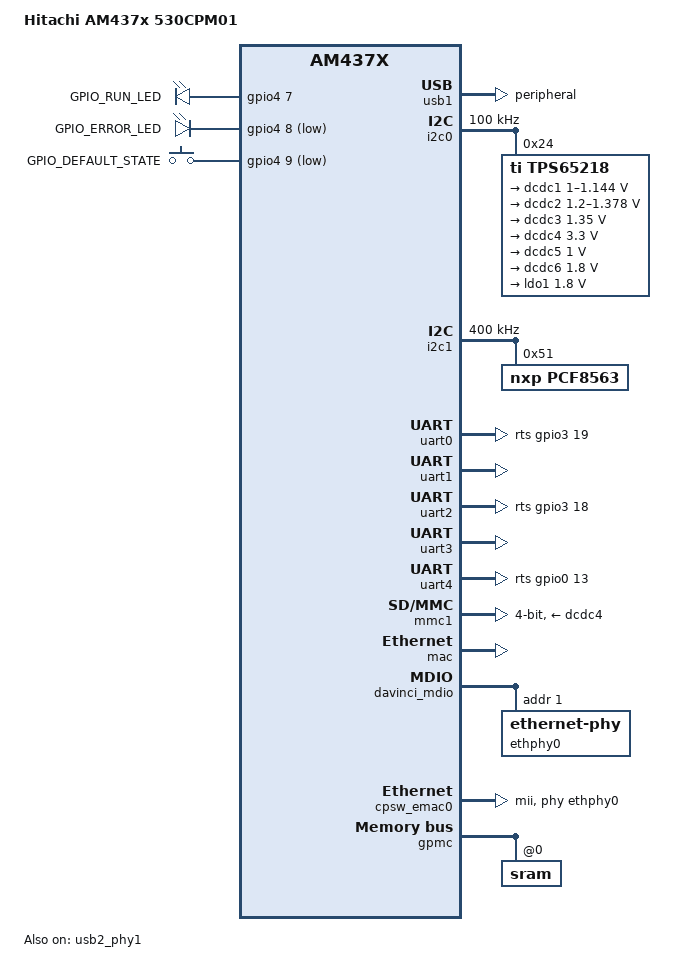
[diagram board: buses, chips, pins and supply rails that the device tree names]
/*
 * Copyright 2020-2023 Hitachi Energy.
 *
 * This program is free software; you can redistribute it and/or modify
 * it under the terms of the GNU General Public License version 2 as
 * published by the Free Software Foundation.
 */

/* Hitachi 530CPM01 */

/dts-v1/;

#include "am4372.dtsi"
#include "dt-bindings/pinctrl/am43xx.h"
#include "dt-bindings/pwm/pwm.h"
#include "dt-bindings/gpio/gpio.h"
#include "dt-bindings/input/input.h"

/ {
	model = "Hitachi AM437x 530CPM01";
	compatible = "ti,am437x-gp-evm","ti,am4372","ti,am43","hitachi,am437x-530cpm01";

	chosen {
		stdout-path = &uart3;
		tick-timer = &timer2;
	};

	status_leds {
		compatible = "gpio-leds";
		pinctrl-names = "default";
		pinctrl-0 = <&leds_pins_default>;
		led-green {
			label = "GPIO_RUN_LED";
			gpios = <&gpio4 7 GPIO_ACTIVE_HIGH>;
			default-state = "off";
		};
		led-red {
			label = "GPIO_ERROR_LED";
			gpios = <&gpio4 8 GPIO_ACTIVE_LOW>;
			default-state = "on";
		};
	};

	default_switch {
		compatible = "gpio-keys";
		pinctrl-names = "default";
		pinctrl-0 = <&switch_pins_default>;
		default-switch {
			label = "GPIO_DEFAULT_STATE";
			linux,code = <BTN_0>;
			gpios = <&gpio4 9 GPIO_ACTIVE_LOW>;
		};
	};

	uio_pg_sram@0 {
		compatible = "hitachi,uio-pg-sram";
		reg = <0x01000000 0x40000>; /* 256kB */
	};
};

&am43xx_pinmux {
	pinctrl-names = "default", "sleep";

	/* Some or all the pins from the following groups are not used by device tree 
	   ext_int_pins_default
	   jtag_pins_default
	   hw_glue_pins_default
	   _24mhz_pins_default
	   _32khz_pins_default
	   rtc_pins_default
	*/

	ext_int_pins_default: ext_int_default_pinmux {
		pinctrl-single,pins = <
			0x284 ( PIN_INPUT          | MUX_MODE0 ) /* (G25) EXTINTn.nNMI               => External interrupt connected to PMIC */
		>;
	};

	jtag_pins_default: jtag_default_pinmux {
		pinctrl-single,pins = <
			0x290 ( PIN_INPUT          | MUX_MODE0 ) /* (Y24) TMS.TMS                    => JTAG TMS */
			0x294 ( PIN_INPUT          | MUX_MODE0 ) /* (Y20) TDI.TDI                    => JTAG TDI */
			0x298 ( PIN_OUTPUT         | MUX_MODE0 ) /* (AA24) TDO.TDO                   => JTAG TDO */
			0x29c ( PIN_INPUT          | MUX_MODE0 ) /* (AA25) TCK.TCK                   => JTAG TCK */
			0x2a0 ( PIN_INPUT          | MUX_MODE0 ) /* (Y25) nTRST.nTRST                => JTAG TRSTN */
			0x2a4 ( PIN_INPUT          | MUX_MODE0 ) /* (N23) EMU0.EMU0                  => JTAG EMU0 */
			0x2a8 ( PIN_INPUT          | MUX_MODE0 ) /* (T24) EMU1.EMU1                  => JTAG EMU1 */
		>;
	};

	hw_glue_pins_default: hw_glue_default_pinmux {
		pinctrl-single,pins = <
			0x27c ( PIN_INPUT          | MUX_MODE0 ) /* (G22) WARMRSTn.nRESETIN_OUT      => SYS_RESETN */
			0x280 ( PIN_INPUT          | MUX_MODE0 ) /* (Y23) PWRONRSTn.porz             => POWER_GOOD */
		>;
	};

	leds_pins_default: leds_default_pinmux {
		pinctrl-single,pins = <
			0x1cc ( PIN_OUTPUT         | MUX_MODE7 ) /* (AC24) cam1_data9.gpio4[7]       => GPIO_RUN_LED (low pull-down) */
			0x1d0 ( PIN_OUTPUT         | MUX_MODE7 ) /* (AD24) cam1_data8.gpio4[8]       => GPIO_ERROR_LEDN (low pull-down) */
		>;
	};

	switch_pins_default: switch_default_pinmux {
		pinctrl-single,pins = <
			0x1d4 ( PIN_INPUT          | MUX_MODE7 ) /* (AD25) cam1_hd.gpio4[9]          => GPIO_DEFAULT_STATEN */
		>;
	};

	uart_cp1_pins_default: uart_cp1_default_pinmux {
		pinctrl-single,pins = <
			0x1e8 ( PIN_INPUT          | MUX_MODE1 ) /* (AB20) cam1_data0.uart1_rxd      => UART1 RX */
			0x1ec ( PIN_OUTPUT         | MUX_MODE1 ) /* (AC21) cam1_data1.uart1_txd      => UART1 TX */
			0x1f0 ( PIN_INPUT          | MUX_MODE1 ) /* (AD21) cam1_data2.uart1_ctsn     => UART1 CTS */
			0x1f4 ( PIN_OUTPUT         | MUX_MODE1 ) /* (AE22) cam1_data3.uart1_rtsn     => UART1 RTS */
			0x200 ( PIN_INPUT          | MUX_MODE1 ) /* (AD23) cam1_data6.uart1_dcdn     => UART1 DCD */
			0x1fc ( PIN_INPUT          | MUX_MODE1 ) /* (AE23) cam1_data5.uart1_dsrn     => UART1 DSR */
			0x204 ( PIN_OUTPUT         | MUX_MODE1 ) /* (AE24) cam1_data7.uart1_dtrn     => UART1 DTR */
			0x090 ( PIN_OUTPUT         | MUX_MODE7 ) /* (A9) gpmc_advn_ale.gpio2[2]      => GPIO_EN_RS232_CP1 (low pull-down) */
		>;
	};

	uart_cp2_pins_default: uart_cp2_default_pinmux {
		pinctrl-single,pins = <
			0x150 ( PIN_INPUT          | MUX_MODE1 ) /* (P23) spi0_sclk.uart2_rxd        => UART2 RX */
			0x154 ( PIN_OUTPUT         | MUX_MODE1 ) /* (T22) spi0_d0.uart2_txd          => UART2 TX */
			0x1a0 ( PIN_OUTPUT         | MUX_MODE7 ) /* (L23) mcasp0_aclkr.gpio3[18]     => GPIO_EN_RS485_TX_CP2 (low pull-down) */
			0x1e0 ( PIN_INPUT          | MUX_MODE7 ) /* (AC25) cam1_field.gpio4[12]      => GPIO_TIME_SYNC_OUT1N (high pull-up) */
								   /* This actual output is defined as input because the output */
								   /* requires high as default state and there is no way to set */
								   /* this default state here */
		>;
	};

	uart_cp3_pins_default: uart_cp3_default_pinmux {
		pinctrl-single,pins = <
			0x170 ( PIN_INPUT          | MUX_MODE0 ) /* (K25) uart0_rxd.uart0_rxd        => UART0 RX */
			0x174 ( PIN_OUTPUT         | MUX_MODE0 ) /* (J24) uart0_txd.uart0_txd        => UART0 TX */
			0x1a4 ( PIN_OUTPUT         | MUX_MODE7 ) /* (K23) mcasp0_fsr.gpio3[19]       => GPIO_EN_RS485_TX_CP3 (low pull-down) */
			0x1e4 ( PIN_INPUT          | MUX_MODE7 ) /* (AB25) cam1_wen.gpio4[13]        => GPIO_TIME_SYNC_OUT2N (high pull-up) */
								   /* This actual output is defined as input because the output */
								   /* requires high as default state and there is no way to set */
								   /* this default state here */
		>;
	};

	uart_iobus_pins_default: uart_iobus_default_pinmux {
		pinctrl-single,pins = <
			0x168 ( PIN_INPUT          | MUX_MODE1 ) /* (L25) uart0_ctsn.uart4_rxd       => UART4 RX */
			0x16c ( PIN_OUTPUT         | MUX_MODE1 ) /* (J25) uart0_rtsn.uart4_txd       => UART4 TX */
			0x17c ( PIN_OUTPUT         | MUX_MODE7 ) /* (L22) uart1_rtsn.gpio0[13]       => GPIO_UART4_TX_EN (low pull-down) */
			0x144 ( PIN_OUTPUT         | MUX_MODE7 ) /* (A16) rmii1_ref_clk.gpio0[29]    => GPIO_UART4_RX_EN (low pull-down) */
			0x1d8 ( PIN_INPUT          | MUX_MODE7 ) /* (AC23) cam1_vd.gpio4[10]         => GPIO_TIME_SYNC_OUT0N (high pull-up) */
								   /* This actual output is defined as input because the output */
								   /* requires high as default state and there is no way to set */
								   /* this default state here */
		>;
	};

	uart_debug_console_pins_default: uart_debug_console_default_pinmux {
		pinctrl-single,pins = <
			0x228 ( PIN_INPUT          | MUX_MODE0 ) /* (H25) uart3_rxd.uart3_rxd        => UART3 RX */
			0x22c ( PIN_OUTPUT         | MUX_MODE0 ) /* (H24) uart3_txd.uart3_txd        => UART3 TX */
		>;
	};

	gpio0_pins_default: gpio0_default_pinmux {
		pinctrl-single,pins = <
			0x158 ( PIN_INPUT_PULLDOWN | MUX_MODE7 ) /* (T21) spi0_d1.gpio0[4]           => not connected */
			0x15c ( PIN_INPUT_PULLDOWN | MUX_MODE7 ) /* (T20) spi0_cs0.gpio0[5]          => not connected */
			0x160 ( PIN_INPUT          | MUX_MODE7 ) /* (R25) spi0_cs1.gpio0[6]          => GPIO_BIT_PROT_IN */
			0x164 ( PIN_INPUT          | MUX_MODE7 ) /* (G24) eCAP0_in_PWM0_out.gpio0[7] => GPIO_BIT_PROT_OUT */
								   /* Set default defintion to input to avoid interference */
								   /* with standard functionality UART1 TX */
			0x0d8 ( PIN_INPUT          | MUX_MODE7 ) /* (C17) dss_data14.gpio0[10]       => SYSBOOT_14 (fix connected to high) */
			0x0dc ( PIN_INPUT          | MUX_MODE7 ) /* (D17) dss_data15.gpio0[11]       => SYSBOOT_15 (fix connected to low) */
			0x178 ( PIN_INPUT_PULLDOWN | MUX_MODE7 ) /* (K22) uart1_ctsn.gpio0[12]       => not connected */
			0x270 ( PIN_INPUT_PULLDOWN | MUX_MODE7 ) /* (D24) xdma_event_intr0.gpio0[19] => connect to TP1 (define as MUX_MODE3 for CPU_CLK_OUT1 signal) */
			0x274 ( PIN_INPUT_PULLDOWN | MUX_MODE7 ) /* (C24) xdma_event_intr1.gpio0[20] => GPIO_PHY_CLK (not connected) */
			0x278 ( PIN_INPUT          | MUX_MODE7 ) /* (H20) clkreq.gpio0[24]           => GPIO_EMMC_RESETN (high pull-up) */
								   /* This actual output is defined as input because the output */
								   /* requires high as default state and there is no way to set */
								   /* this default state here */
		>;
	};

	gpio1_pins_default: gpio1_default_pinmux {
		pinctrl-single,pins = <
			0x080 ( PIN_INPUT_PULLDOWN | MUX_MODE7 ) /* (B9) gpmc_csn1.gpio1[30]         => not connected */
		>;
	};

	gpio2_pins_default: gpio2_default_pinmux {
		pinctrl-single,pins = <
			0x088 ( PIN_INPUT_PULLDOWN | MUX_MODE7 ) /* (B12) gpmc_csn3.gpio2[0]         => not connected */
			0x08c ( PIN_INPUT_PULLDOWN | MUX_MODE7 ) /* (A12) gpmc_clk.gpio2[1]          => not connected */
		>;
	};

	gpio3_pins_default: gpio3_default_pinmux {
		pinctrl-single,pins = <
			0x190 ( PIN_INPUT_PULLDOWN | MUX_MODE7 ) /* (N24) mcasp0_aclkx.gpio3[14]     => not connected */
			0x194 ( PIN_INPUT_PULLDOWN | MUX_MODE7 ) /* (N22) mcasp0_fsx.gpio3[15]       => not connected */
			0x198 ( PIN_INPUT_PULLDOWN | MUX_MODE7 ) /* (H23) mcasp0_axr0.gpio3[16]      => not connected */
			0x19c ( PIN_INPUT          | MUX_MODE7 ) /* (M24) mcasp0_ahclkr.gpio3[17]    => GPIO_DE_IN_OUT_CPM01_03 (low pull-down) */
			0x1a8 ( PIN_OUTPUT         | MUX_MODE7 ) /* (M25) mcasp0_axr1.gpio3[20]      => GPIO_UC_ACT_LED (not connected) */
			0x1ac ( PIN_OUTPUT         | MUX_MODE7 ) /* (L24) mcasp0_ahclkx.gpio3[21]    => GPIO_UC_SPEED_LED (not connected) */
			0x264 ( PIN_OUTPUT         | MUX_MODE7 ) /* (P22) spi2_d0.gpio3[22]          => GPIO_5V_IO_ENN (not connected) */
			0x268 ( PIN_INPUT_PULLDOWN | MUX_MODE7 ) /* (P20) spi2_d1.gpio3[23]          => GPIO_5V_IO_FAULTN (not connected) */
			0x260 ( PIN_OUTPUT         | MUX_MODE7 ) /* (N20) spi2_sclk.gpio3[24]        => GPIO_EN_DE_IO_LEFT (low pull-down) */
			0x26c ( PIN_OUTPUT         | MUX_MODE7 ) /* (T23) spi2_cs0.gpio3[25]         => GPIO_ETH_RESETN (not connected) */
		>;
	};

	gpio4_pins_default: gpio4_default_pinmux {
		pinctrl-single,pins = <
			0x1b0 ( PIN_INPUT          | MUX_MODE7 ) /* (AE17) cam0_hd.gpio4[0]          => not connected but low pull-down (GPIO_5V_SENSE on 530CPM02) */
			0x1b4 ( PIN_INPUT_PULLDOWN | MUX_MODE7 ) /* (AD18) cam0_vd.gpio4[1]          => not connected */
			0x1b8 ( PIN_INPUT_PULLDOWN | MUX_MODE7 ) /* (AC18) cam0_field.gpio4[2]       => not connected */
			0x1bc ( PIN_INPUT_PULLDOWN | MUX_MODE7 ) /* (AD17) cam0_wen.gpio4[3]         => not connected */
			0x1c0 ( PIN_INPUT_PULLDOWN | MUX_MODE7 ) /* (AC20) cam0_pclk.gpio4[4]        => not connected */
			0x1c4 ( PIN_INPUT          | MUX_MODE7 ) /* (AB19) cam0_data8.gpio4[5]       => SYSBOOT_18 (fix connected to low) */
			0x1c8 ( PIN_INPUT          | MUX_MODE7 ) /* (AA19) cam0_data9.gpio4[6]       => SYSBOOT_17 (fix connected to low) */
			0x1dc ( PIN_INPUT_PULLDOWN | MUX_MODE7 ) /* (AE21) cam1_pclk.gpio4[11]       => not connected (GPIO_DISABLE_CAN_RIGHTN on 530CPM02) */
			0x1f8 ( PIN_INPUT_PULLDOWN | MUX_MODE7 ) /* (AD22) cam1_data4.gpio4[18]      => not connected */
			0x210 ( PIN_INPUT_PULLDOWN | MUX_MODE7 ) /* (Y18) cam0_data2.gpio4[24]       => GPIO_ETH_INTN (not connected) */
			0x214 ( PIN_INPUT_PULLDOWN | MUX_MODE7 ) /* (AA18) cam0_data3.gpio4[25]      => not connected (GPIO_ETH2_INTN on 530CPM03) */
			0x218 ( PIN_INPUT_PULLUP   | MUX_MODE7 ) /* (AE19) cam0_data4.gpio4[26]      => GPIO_MMC0_DAT4 (not used) */
			0x21c ( PIN_INPUT_PULLUP   | MUX_MODE7 ) /* (AD19) cam0_data5.gpio4[27]      => GPIO_MMC0_DAT5 (not used) */
			0x220 ( PIN_INPUT_PULLUP   | MUX_MODE7 ) /* (AE20) cam0_data6.gpio4[28]      => GPIO_MMC0_DAT6 (not used) */
			0x224 ( PIN_INPUT_PULLUP   | MUX_MODE7 ) /* (AD20) cam0_data7.gpio4[29]      => GPIO_MMC0_DAT7 (not used) */
		>;
	};

	gpio5_pins_default: gpio5_default_pinmux {
		pinctrl-single,pins = <
			0x230 ( PIN_OUTPUT         | MUX_MODE7 ) /* (H22) uart3_ctsn.gpio5[0]        => not connected (GPIO_CAN_RESET on 530CPM02) */
			0x234 ( PIN_INPUT          | MUX_MODE7 ) /* (K24) uart3_rtsn.gpio5[1]        => not connected (GPIO_CAN_INTN on 530CPM02) */
			0x250 ( PIN_INPUT          | MUX_MODE7 ) /* (P25) spi4_sclk.gpio5[4]         => GPIO_HW_IDENT0 (fix connected to low) */
			0x254 ( PIN_INPUT          | MUX_MODE7 ) /* (R24) spi4_d0.gpio5[5]           => GPIO_HW_IDENT1 (fix connected to low) */
			0x258 ( PIN_INPUT          | MUX_MODE7 ) /* (P24) spi4_d1.gpio5[6]           => GPIO_HW_IDENT2 (fix connected to low) */
			0x25c ( PIN_INPUT          | MUX_MODE7 ) /* (N25) spi4_cs0.gpio5[7]          => GPIO_HW_IDENT3 (fix connected to low) */
			0x208 ( PIN_INPUT_PULLDOWN | MUX_MODE7 ) /* (AE18) cam0_data0.gpio5[19]      => not connected */
			0x20c ( PIN_INPUT_PULLDOWN | MUX_MODE7 ) /* (AB18) cam0_data1.gpio5[20]      => not connected */
		>;
	};

	sram_128x16_pins_default: sram_128x16_default_pinmux {
		pinctrl-single,pins = <
			0x0d4 ( PIN_OUTPUT         | MUX_MODE1 ) /* (D19) dss_data13.gpmc_a17 */
			0x0d0 ( PIN_OUTPUT         | MUX_MODE1 ) /* (C19) dss_data12.gpmc_a16 */
			0x0cc ( PIN_OUTPUT         | MUX_MODE1 ) /* (B18) dss_data11.gpmc_a15 */
			0x0c8 ( PIN_OUTPUT         | MUX_MODE1 ) /* (A18) dss_data10.gpmc_a14 */
			0x0c4 ( PIN_OUTPUT         | MUX_MODE1 ) /* (B19) dss_data9.gpmc_a13 */
			0x0c0 ( PIN_OUTPUT         | MUX_MODE1 ) /* (A19) dss_data8.gpmc_a12 */
			0x0ec ( PIN_OUTPUT         | MUX_MODE1 ) /* (A24) dss_ac_bias_en.gpmc_a11 */
			0x0e8 ( PIN_OUTPUT         | MUX_MODE1 ) /* (A22) dss_pclk.gpmc_a10 */
			0x0e4 ( PIN_OUTPUT         | MUX_MODE1 ) /* (A23) dss_hsync.gpmc_a9 */
			0x0e0 ( PIN_OUTPUT         | MUX_MODE1 ) /* (B23) dss_vsync.gpmc_a8 */
			0x0bc ( PIN_OUTPUT         | MUX_MODE1 ) /* (E19) dss_data7.gpmc_a7 */
			0x0b8 ( PIN_OUTPUT         | MUX_MODE1 ) /* (C20) dss_data6.gpmc_a6 */
			0x0b4 ( PIN_OUTPUT         | MUX_MODE1 ) /* (B20) dss_data5.gpmc_a5 */
			0x0b0 ( PIN_OUTPUT         | MUX_MODE1 ) /* (A20) dss_data4.gpmc_a4 */
			0x0ac ( PIN_OUTPUT         | MUX_MODE1 ) /* (C21) dss_data3.gpmc_a3 */
			0x0a8 ( PIN_OUTPUT         | MUX_MODE1 ) /* (B21) dss_data2.gpmc_a2 */
			0x0a4 ( PIN_OUTPUT         | MUX_MODE1 ) /* (A21) dss_data1.gpmc_a1 */
			0x0a0 ( PIN_OUTPUT         | MUX_MODE1 ) /* (B22) dss_data0.gpmc_a0 */
			0x03c ( PIN_INPUT          | MUX_MODE0 ) /* (A11) gpmc_ad15.gpmc_ad15 */
			0x038 ( PIN_INPUT          | MUX_MODE0 ) /* (B11) gpmc_ad14.gpmc_ad14 */
			0x034 ( PIN_INPUT          | MUX_MODE0 ) /* (C11) gpmc_ad13.gpmc_ad13 */
			0x030 ( PIN_INPUT          | MUX_MODE0 ) /* (E11) gpmc_ad12.gpmc_ad12 */
			0x02c ( PIN_INPUT          | MUX_MODE0 ) /* (D11) gpmc_ad11.gpmc_ad11 */
			0x028 ( PIN_INPUT          | MUX_MODE0 ) /* (F11) gpmc_ad10.gpmc_ad10 */
			0x024 ( PIN_INPUT          | MUX_MODE0 ) /* (A10) gpmc_ad9.gpmc_ad9 */
			0x020 ( PIN_INPUT          | MUX_MODE0 ) /* (B10) gpmc_ad8.gpmc_ad8 */
			0x01c ( PIN_INPUT          | MUX_MODE0 ) /* (B8) gpmc_ad7.gpmc_ad7 */
			0x018 ( PIN_INPUT          | MUX_MODE0 ) /* (C8) gpmc_ad6.gpmc_ad6 */
			0x014 ( PIN_INPUT          | MUX_MODE0 ) /* (A7) gpmc_ad5.gpmc_ad5 */
			0x010 ( PIN_INPUT          | MUX_MODE0 ) /* (B7) gpmc_ad4.gpmc_ad4 */
			0x00c ( PIN_INPUT          | MUX_MODE0 ) /* (A6) gpmc_ad3.gpmc_ad3 */
			0x008 ( PIN_INPUT          | MUX_MODE0 ) /* (B6) gpmc_ad2.gpmc_ad2 */
			0x004 ( PIN_INPUT          | MUX_MODE0 ) /* (A5) gpmc_ad1.gpmc_ad1 */
			0x000 ( PIN_INPUT          | MUX_MODE0 ) /* (B5) gpmc_ad0.gpmc_ad0 */
			0x084 ( PIN_OUTPUT         | MUX_MODE1 ) /* (F10) gpmc_csn2.gpmc_be1n */
			0x07c ( PIN_OUTPUT         | MUX_MODE0 ) /* (A8) gpmc_csn0.gpmc_csn0 */
			0x094 ( PIN_OUTPUT         | MUX_MODE0 ) /* (E10) gpmc_oen_ren.gpmc_oen_ren */
			0x098 ( PIN_OUTPUT         | MUX_MODE0 ) /* (D10) gpmc_wen.gpmc_wen */
			0x09c ( PIN_OUTPUT         | MUX_MODE0 ) /* (C10) gpmc_be0n_cle.gpmc_be0n_cle */
		>;
	};

	i2c_pmic_pins_default: i2c_pmic_default_pinmux {
		pinctrl-single,pins = <
			0x18c ( PIN_INPUT          | MUX_MODE0 ) /* (Y22) I2C0_SCL.I2C0_SCL          => I2C0 SCL */
			0x188 ( PIN_INPUT          | MUX_MODE0 ) /* (AB24) I2C0_SDA.I2C0_SDA         => I2C0 SDA */
		>;
	};

	i2c_rtc_atecc_pins_default: i2c_rtc_atecc_default_pinmux {
		pinctrl-single,pins = <
			0x184 ( PIN_INPUT          | MUX_MODE3 ) /* (L21) uart1_txd.I2C1_SCL         => I2C1 SCL */
			0x180 ( PIN_INPUT          | MUX_MODE3 ) /* (K21) uart1_rxd.I2C1_SDA         => I2C1 SDA */
		>;
	};

	mdio_pins_default: mdio_default_pinmux {
		pinctrl-single,pins = <
			0x14c ( PIN_OUTPUT         | MUX_MODE0 ) /* (B17) mdio_clk.mdio_clk          => MDIO CLK */
			0x148 ( PIN_INPUT          | MUX_MODE0 ) /* (A17) mdio_data.mdio_data        => MDIO DATA */
		>;
	};

	eth_cpsw_pins_default: eth_cpsw_default_pinmux {
		pinctrl-single,pins = <
			0x108 ( PIN_INPUT          | MUX_MODE0 ) /* (D16) mii1_col.gmii1_col */
			0x10c ( PIN_INPUT          | MUX_MODE0 ) /* (B14) mii1_crs.gmii1_crs */
			0x110 ( PIN_INPUT          | MUX_MODE0 ) /* (B13) mii1_rx_er.gmii1_rxer */
			0x114 ( PIN_OUTPUT         | MUX_MODE0 ) /* (A13) mii1_tx_en.gmii1_txen */
			0x118 ( PIN_INPUT          | MUX_MODE0 ) /* (A15) mii1_rx_dv.gmii1_rxdv */
			0x12c ( PIN_INPUT          | MUX_MODE0 ) /* (D14) mii1_tx_clk.gmii1_txclk */
			0x130 ( PIN_INPUT          | MUX_MODE0 ) /* (D13) mii1_rx_clk.gmii1_rxclk */
			0x128 ( PIN_OUTPUT         | MUX_MODE0 ) /* (B15) mii1_txd0.gmii1_txd0 */
			0x124 ( PIN_OUTPUT         | MUX_MODE0 ) /* (A14) mii1_txd1.gmii1_txd1 */
			0x120 ( PIN_OUTPUT         | MUX_MODE0 ) /* (C13) mii1_txd2.gmii1_txd2 */
			0x11c ( PIN_OUTPUT         | MUX_MODE0 ) /* (C16) mii1_txd3.gmii1_txd3 */
			0x140 ( PIN_INPUT          | MUX_MODE0 ) /* (F17) mii1_rxd0.gmii1_rxd0 */
			0x13c ( PIN_INPUT          | MUX_MODE0 ) /* (B16) mii1_rxd1.gmii1_rxd1 */
			0x138 ( PIN_INPUT          | MUX_MODE0 ) /* (E16) mii1_rxd2.gmii1_rxd2 */
			0x134 ( PIN_INPUT          | MUX_MODE0 ) /* (C14) mii1_rxd3.gmii1_rxd3 */
		>;
	};

	emmc_pins_default: emmc_pins_default {
		pinctrl-single,pins = <
			0x100 ( PIN_INPUT_PULLUP   | MUX_MODE0 ) /* (D1) mmc0_clk.mmc0_clk */
			0x104 ( PIN_INPUT_PULLUP   | MUX_MODE0 ) /* (D2) mmc0_cmd.mmc0_cmd */
			0x0fc ( PIN_INPUT_PULLUP   | MUX_MODE0 ) /* (C1) mmc0_dat0.mmc0_dat0 */
			0x0f8 ( PIN_INPUT_PULLUP   | MUX_MODE0 ) /* (C2) mmc0_dat1.mmc0_dat1 */
			0x0f4 ( PIN_INPUT_PULLUP   | MUX_MODE0 ) /* (B2) mmc0_dat2.mmc0_dat2 */
			0x0f0 ( PIN_INPUT_PULLUP   | MUX_MODE0 ) /* (B1) mmc0_dat3.mmc0_dat3 */
		>;
	};

	_24mhz_pins_default: _24mhz_default_pinmux {
		pinctrl-single,pins = <
			0x288 ( PIN_INPUT          | MUX_MODE0 ) /* (C25) XTALIN.OSC0_IN */
			0x28c ( PIN_OUTPUT         | MUX_MODE0 ) /* (B25) XTALOUT.OSC0_OUT */
		>;
	};

	_32khz_pins_default: _32khz_default_pinmux {
		pinctrl-single,pins = <
			0x2ac ( PIN_INPUT          | MUX_MODE0 ) /* (AE5) RTC_XTALIN.OSC1_IN */
			0x2b0 ( PIN_OUTPUT         | MUX_MODE0 ) /* (AE4) RTC_XTALOUT.OSC1_OUT */
		>;
	};

	rtc_pins_default: rtc_default_pinmux {
		pinctrl-single,pins = <
			0x2b4 ( PIN_INPUT          | MUX_MODE0 ) /* (AE6) RTC_PWRONRSTn.RTC_PORz */
			0x2b8 ( PIN_OUTPUT         | MUX_MODE0 ) /* (AE3) RTC_WAKEUP.RTC_WAKEUP */
			0x2bc ( PIN_INPUT          | MUX_MODE0 ) /* (AD6) RTC_PMIC_EN.RTC_PMIC_EN */
		>;
	};

	usb_pins_default: usb_default_pinmux {
		pinctrl-single,pins = <
			0x2c0 ( PIN_OUTPUT         | MUX_MODE0 ) /* (G21) USB0_DRVVBUS.USB0_DRVVBUS  => USB0_DRVVBUS */
			0x2c4 ( PIN_INPUT          | MUX_MODE9 ) /* (F25) USB1_DRVVBUS.gpio0[25]     => GPIO_USB0_FAULTN */
		>;
	};
};

&usb2_phy1 {
	status = "okay";
};

&usb1 {
	status = "okay";
	pinctrl-names = "default";
	pinctrl-0 = <&usb_pins_default>;
	dr_mode = "peripheral";
	maximum-speed = "full-speed";
};

&i2c0 {
	status = "okay";
	pinctrl-names = "default";
	pinctrl-0 = <&i2c_pmic_pins_default>;
	clock-frequency = <100000>;

	tps65218: tps65218@24 {
		reg = <0x24>;
		compatible = "ti,tps65218";
		interrupts = <GIC_SPI 7 IRQ_TYPE_LEVEL_HIGH>; /* NMIn */
		interrupt-controller;
		#interrupt-cells = <2>;

		dcdc1: regulator-dcdc1 {
			compatible = "ti,tps65218-dcdc1";
			regulator-name = "vdd_core";
			regulator-min-microvolt = <1000000>;
			regulator-max-microvolt = <1144000>;
			regulator-boot-on;
			regulator-always-on;
		};

		dcdc2: regulator-dcdc2 {
			compatible = "ti,tps65218-dcdc2";
			regulator-name = "vdd_mpu";
			regulator-min-microvolt = <1200000>;
			regulator-max-microvolt = <1378000>;
			regulator-boot-on;
			regulator-always-on;
		};

		dcdc3: regulator-dcdc3 {
			compatible = "ti,tps65218-dcdc3";
			regulator-name = "vdd_ddr";
			regulator-boot-on;
			regulator-always-on;
			regulator-min-microvolt = <1350000>;
			regulator-max-microvolt = <1350000>;

		};

		dcdc4: regulator-dcdc4 {
			compatible = "ti,tps65218-dcdc4";
			regulator-name = "v3_3bat";
			regulator-min-microvolt = <3300000>;
			regulator-max-microvolt = <3300000>;
			regulator-boot-on;
			regulator-always-on;
		};

		dcdc5: regulator-dcdc5 {
			compatible = "ti,tps65218-dcdc5";
			regulator-name = "vdd_rtc";
			regulator-min-microvolt = <1000000>;
			regulator-max-microvolt = <1000000>;
			regulator-boot-on;
			regulator-always-on;
		};

		dcdc6: regulator-dcdc6 {
			compatible = "ti,tps65218-dcdc6";
			regulator-name = "vdds_rtc";
			regulator-min-microvolt = <1800000>;
			regulator-max-microvolt = <1800000>;
			regulator-boot-on;
			regulator-always-on;
		};

		ldo1: regulator-ldo1 {
			compatible = "ti,tps65218-ldo1";
			regulator-name = "v1_8bat";
			regulator-min-microvolt = <1800000>;
			regulator-max-microvolt = <1800000>;
			regulator-boot-on;
			regulator-always-on;
		};
	};
};

&i2c1 {
	status = "okay";
	pinctrl-names = "default";
	pinctrl-0 = <&i2c_rtc_atecc_pins_default>;
	clock-frequency = <400000>;

	pcf8563@51 {
		compatible = "nxp,pcf8563";
		reg = <0x51>;
	};

	crypto_atecc608@60 {
		compatible = "dummy";
		reg = <0x60>;
		label = "CRYPTO_CHIP_ATECC608";
	};
};

&gpio0 {
	pinctrl-names = "default";
	pinctrl-0 = <&gpio0_pins_default>;
	status = "okay";
	gpio-line-names =
		"",                 "",                 "",                 "",                  /* 0..3 */
		"NC",               "NC",               "GPIO_BIT_PROT_IN", "GPIO_BIT_PROT_OUT", /* 4..7 */
		"",                 "",                 "SYSBOOT_14",       "SYSBOOT_15",        /* 8..11 */
		"NC",               "GPIO_UART4_TX_EN", "",                 "",                  /* 12..15 */
		"",                 "",                 "",                 "NC",                /* 16..19 */
		"GPIO_PHY_CLK",     "",                 "",                 "",                  /* 20..23 */
		"GPIO_EMMC_RESETN", "GPIO_USB0_FAULTN", "",                 "",                  /* 24..27 */
		"",                 "GPIO_UART4_RX_EN", "",                 "";                  /* 28..31 */
};

&gpio1 {
	pinctrl-names = "default";
	pinctrl-0 = <&gpio1_pins_default>;
	status = "okay";
	gpio-line-names =
		"", "", "",   "", /* 0..3 */
		"", "", "",   "", /* 4..7 */
		"", "", "",   "", /* 8..11 */
		"", "", "",   "", /* 12..15 */
		"", "", "",   "", /* 16..19 */
		"", "", "",   "", /* 20..23 */
		"", "", "",   "", /* 24..27 */
		"", "", "NC", ""; /* 28..31 */
};

&gpio2 {
	pinctrl-names = "default";
	pinctrl-0 = <&gpio2_pins_default>;
	status = "okay";
	gpio-line-names =
		"NC", "NC", "GPIO_EN_RS232_CP1", "", /* 0..3 */
		"",   "",   "",                  "", /* 4..7 */
		"",   "",   "",                  "", /* 8..11 */
		"",   "",   "",                  "", /* 12..15 */
		"",   "",   "",                  "", /* 16..19 */
		"",   "",   "",                  "", /* 20..23 */
		"",   "",   "",                  "", /* 24..27 */
		"",   "",   "",                  ""; /* 28..31 */
};

&gpio3 {
	pinctrl-names = "default";
	pinctrl-0 = <&gpio3_pins_default>;
	status = "okay";
	gpio-line-names =
		"",                   "",                        "",                     "",                     /* 0..3 */
		"",                   "",                        "",                     "",                     /* 4..7 */
		"",                   "",                        "",                     "",                     /* 8..11 */
		"",                   "",                        "NC",                   "NC",                   /* 12..15 */
		"NC",                 "GPIO_DE_IN_OUT_CPM01_03", "GPIO_EN_RS485_TX_CP2", "GPIO_EN_RS485_TX_CP3", /* 16..19 */
		"GPIO_UC_ACT_LED",    "GPIO_UC_SPEED_LED",       "GPIO_5V_IO_ENN",       "GPIO_5V_IO_FAULTN",    /* 20..23 */
		"GPIO_EN_DE_IO_LEFT", "GPIO_ETH_RESETN",         "",                     "",                     /* 24..27 */
		"",                   "",                        "",                     "";                     /* 28..31 */
};

&gpio4 {
	pinctrl-names = "default";
	pinctrl-0 = <&gpio4_pins_default>;
	status = "okay";
	gpio-line-names =
		"NC",                   "NC",                   "NC",                   "NC",             /* 0..3 */
		"NC",                   "SYSBOOT_18",           "SYSBOOT_17",           "GPIO_RUN_LED",   /* 4..7 */
		"GPIO_ERROR_LED",       "GPIO_DEFAULT_STATEN",  "GPIO_TIME_SYNC_OUT0N", "NC",             /* 8..11 */
		"GPIO_TIME_SYNC_OUT1N", "GPIO_TIME_SYNC_OUT2N", "",                     "",               /* 12..15 */
		"",                     "",                     "NC",                   "",               /* 16..19 */
		"",                     "",                     "",                     "",               /* 20..23 */
		"GPIO_ETH_INTN",        "NC",                   "GPIO_MMC0_DAT4",       "GPIO_MMC0_DAT5", /* 24..27 */
		"GPIO_MMC0_DAT6",       "GPIO_MMC0_DAT7",       "",                     "";               /* 28..31 */
};

&gpio5 {
	pinctrl-names = "default";
	pinctrl-0 = <&gpio5_pins_default>;
	status = "okay";
	gpio-line-names =
		"",               "",               "",               "",               /* 0..3 */
		"GPIO_HW_IDENT0", "GPIO_HW_IDENT1", "GPIO_HW_IDENT2", "GPIO_HW_IDENT3", /* 4..7 */
		"",               "",               "",               "",               /* 8..11 */
		"",               "",               "",               "",               /* 12..15 */
		"",               "",               "",               "NC",             /* 16..19 */
		"NC",             "",               "",               "",               /* 20..23 */
		"",               "",               "",               "",               /* 24..27 */
		"",               "",               "",               "";               /* 28..31 */
};

&uart0 {
	pinctrl-names = "default";
	pinctrl-0 = <&uart_cp3_pins_default>;
	status = "okay";
	rts-gpios = <&gpio3 19 GPIO_ACTIVE_HIGH>;
	linux,rs485-enabled-at-boot-time;
};

&uart1 {
	pinctrl-names = "default";
	pinctrl-0 = <&uart_cp1_pins_default>;
	status = "okay";
};

&uart2 {
	pinctrl-names = "default";
	pinctrl-0 = <&uart_cp2_pins_default>;
	status = "okay";
	rts-gpios = <&gpio3 18 GPIO_ACTIVE_HIGH>;
	linux,rs485-enabled-at-boot-time;
};

&uart3 {
	status = "okay";
	pinctrl-names = "default";
	pinctrl-0 = <&uart_debug_console_pins_default>;
};

&uart4 {
	status = "okay";
	pinctrl-names = "default";
	pinctrl-0 = <&uart_iobus_pins_default>;
	rts-gpios = <&gpio0 13 GPIO_ACTIVE_HIGH>;
	rx-disable-gpios = <&gpio0 29 GPIO_ACTIVE_HIGH>;
	linux,rs485-enabled-at-boot-time;
	dmas = <&edma_xbar 14 2 9>, <&edma_xbar 15 2 10>;
	dma-names = "tx", "rx";
};

&mmc1 {
	status = "okay";
	vmmc-supply = <&dcdc4>;
	bus-width = <4>;
	pinctrl-names = "default";
	pinctrl-0 = <&emmc_pins_default>;
};

&mac {
	status = "okay";
	pinctrl-names = "default";
	pinctrl-0 = <&eth_cpsw_pins_default>;
	slaves = <1>;
};

&davinci_mdio {
	status = "okay";
	pinctrl-names = "default";
	pinctrl-0 = <&mdio_pins_default>;

	ethphy0: ethernet-phy@0 {
		reg = <1>;
		ti,strap-duplex-mode = <1>;
		ti,strap-auto-neg-enable = <1>;
		ti,strap-speed-select = <1>;
		ti,strap-advertise-10te-half = <1>;
		ti,strap-advertise-10te-full = <1>;
		ti,strap-advertise-100tx-half = <1>;
		ti,strap-advertise-100tx-full = <1>;
		ti,strap-100base-fx-enable = <0>;
		ti,strap-rmii-clock-select = <0>;
		ti,strap-rgmii-mode-enable = <0>;
		ti,strap-led0-polarity = <0>;
		ti,strap-auto-mdix-enable = <0>;
		ti,strap-led-configuration = <0>;
		ti,strap-mled-polarity-swap = <0>;
		ti,strap-eee-capa-enable = <0>;
	};
};

&cpsw_emac0 {
	phy-handle = <&ethphy0>;
	phy-mode = "mii";
};

&gpmc {
	status = "okay";
	pinctrl-names = "default";
	pinctrl-0 = <&sram_128x16_pins_default>;
	ranges = <0x0 0x0 0x1000000 0x40000>;

	#address-cells = <2>;
	#size-cells = <1>;

	sram@0,0 {
		reg = <0x0 0x0 0x40000>; /* 256kB */
		bank-width = <0x2>;
		gpmc,cs-on-ns = <0x0>;
		gpmc,cs-rd-off-ns = <0x2e>;
		gpmc,cs-wr-off-ns = <0x2d>;
		gpmc,adv-on-ns = <0x0>;
		gpmc,adv-rd-off-ns = <0x2e>;
		gpmc,adv-wr-off-ns = <0x2d>;
		gpmc,we-on-ns = <0x0>;
		gpmc,we-off-ns = <0x2d>;
		gpmc,oe-on-ns = <0x0>;
		gpmc,oe-off-ns = <0x2d>;
		gpmc,access-ns = <0x2e>;
		gpmc,rd-cycle-ns = <0x3f>;
		gpmc,wr-cycle-ns = <0x2d>;
	};
};
